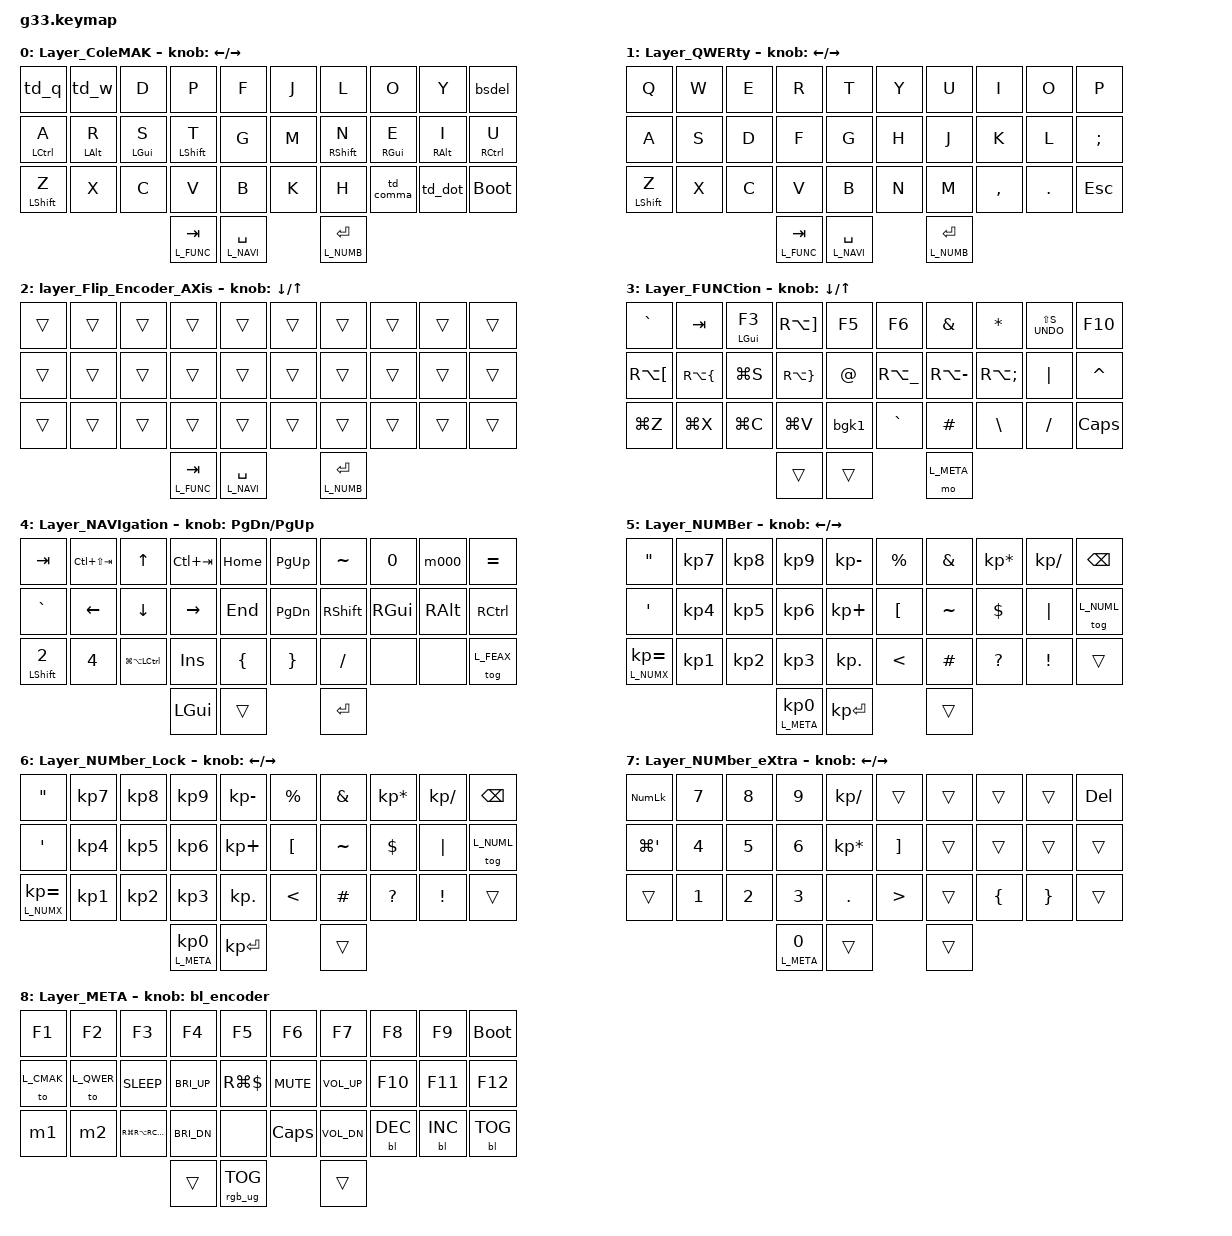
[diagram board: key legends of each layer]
/*
* Copyright (c) 2023 The ZMK Contributors
*
* SPDX-License-Identifier: MIT
*/

#include <behaviors.dtsi>
#include <dt-bindings/zmk/keys.h>
#include <dt-bindings/zmk/backlight.h>
#include <dt-bindings/zmk/bt.h>
#include <dt-bindings/zmk/ext_power.h>
#include <dt-bindings/zmk/rgb.h>


/* Layers */
#define L_CMAK  0
#define L_QWER  1
#define L_FEAX  2
#define L_FUNC  3
#define L_NAVI  4
#define L_NUMB  5
#define L_NUML  6
#define L_NUMX  7
#define L_META  8

/* Option Symbols */
#define LDQUO   RA(LBKT)
#define RDQUO   RA(LBRC)
#define LSQUO   RA(RBKT)
#define RSQUO   RA(RBRC)
#define NDASH   RA(MINUS)
#define MDASH   RA(UNDER)
#define ELLIP   RA(SEMI)

/* Modifiers */
#define M_ALL   LG(LA(LCTRL))
#define M_ARR   RG(RA(RCTRL))

/* Shortcuts */
#define S_UNDO  LG(Z)
#define S_REDO  LS(S_UNDO)
#define S_CUT   LG(X)
#define S_COPY  LG(C)
#define S_PAST  LG(V)
#define S_SAVE  LG(S)
#define S_SHOT  RG(DOLLAR)
#define S_TIMER RG(RA(RC(F10)))

/* Shorter Number Pad Codes */
#define P1      KP_NUMBER_1
#define P2      KP_NUMBER_2
#define P3      KP_NUMBER_3
#define P4      KP_NUMBER_4
#define P5      KP_NUMBER_5
#define P6      KP_NUMBER_6
#define P7      KP_NUMBER_7
#define P8      KP_NUMBER_8
#define P9      KP_NUMBER_9
#define P0      KP_NUMBER_0
#define PPLUS   KP_PLUS
#define PMIN    KP_MINUS
#define PMULT   KP_MULTIPLY
#define PDIV    KP_DIVIDE
#define PEQL    KP_EQUAL
#define PDOT    KP_DOT


&mt {
    flavor = "balanced";
    tapping_term_ms = <175>;
};

/ {
    behaviors {

        bl_encoder: bl_encoder {
            compatible = "zmk,behavior-sensor-rotate";
            label = "BACKLIGHT_ENCODER";
            #sensor-binding-cells = <0>;
            bindings = <&bl BL_DEC>, <&bl BL_INC>;
        };

        bsdel: backsp_del {
            compatible = "zmk,behavior-mod-morph";
            label = "BACKSP_DEL";
            #binding-cells = <0>;
            bindings = <&kp BSPC>, <&kp DEL>;
            mods = <MOD_LSFT>;
        };
        comlp: comma_paren {
            compatible = "zmk,behavior-mod-morph";
            label = "COMMA_PAREN";
            #binding-cells = <0>;
            bindings = <&kp COMMA>, <&kp LPAR>;
            mods = <MOD_LSFT>;
        };
        dotrp: dot_paren {
            compatible = "zmk,behavior-mod-morph";
            label = "DOT_PAREN";
            #binding-cells = <0>;
            bindings = <&kp DOT>, <&kp RPAR>;
            mods = <MOD_LSFT>;
        };
        comlt: comma_less {
            compatible = "zmk,behavior-mod-morph";
            label = "COMMA_LESSTHAN";
            #binding-cells = <0>;
            bindings = <&comlp>, <&kp LT>;
            mods = <MOD_LALT>;
        };
        dotgt: dot_great {
            compatible = "zmk,behavior-mod-morph";
            label = "DOT_GREATERTHAN";
            #binding-cells = <0>;
            bindings = <&dotrp>, <&kp GT>;
            mods = <MOD_LALT>;
        };
        comlb: comma_backet {
            compatible = "zmk,behavior-mod-morph";
            label = "COMMA_BRACKET";
            #binding-cells = <0>;
            bindings = <&comlt>, <&kp LBKT>;
            mods = <MOD_LCTL>;
        };
        dotrb: dot_backet {
            compatible = "zmk,behavior-mod-morph";
            label = "DOT_BRACKET";
            #binding-cells = <0>;
            bindings = <&dotgt>, <&kp RBKT>;
            mods = <MOD_LCTL>;
        };

        td_q: tap_dance_q {
            compatible = "zmk,behavior-tap-dance";
            label = "TAP_DANCE_Q";
            #binding-cells = <0>;
            bindings = <&kp Q>, <&kp SQT>;
        };
        td_w: tap_dance_w {
            compatible = "zmk,behavior-tap-dance";
            label = "TAP_DANCE_W";
            #binding-cells = <0>;
            bindings = <&kp W>, <&kp DQT>, <&www>;
        };
        td_comma: tap_dance_comma {
            compatible = "zmk,behavior-tap-dance";
            label = "TAP_DANCE_COMMA";
            #binding-cells = <0>;
            bindings = <&comlb>, <&kp SEMI>;
        };
        td_dot: tap_dance_dot {
            compatible = "zmk,behavior-tap-dance";
            label = "TAP_DANCE_DOT";
            #binding-cells = <0>;
            bindings = <&dotrb>, <&kp COLON>, <&parent_dir>;
        };
    };

    combos {
        compatible = "zmk,combos";

        combo_esc {
            timeout-ms = <50>;
            key-positions = <0 1>;
            layers = <0 1>;
            bindings = <&kp ESC>;
        };
        combo_minus {
            timeout-ms = <50>;
            key-positions = <8 9>;
            layers = <0 1>;
            bindings = <&kp MINUS>;
        };
        combo_capsword {
            timeout-ms = <50>;
            key-positions = <20 21>;
            layers = <0 1>;
            bindings = <&caps_word>;
        };
        combo_equal {
            timeout-ms = <50>;
            key-positions = <27 28>;
            layers = <0 1>;
            bindings = <&kp EQUAL>;
        };
    };

    macros {
        ZMK_MACRO(
            m000,
            bindings = <&kp P0 &kp P0 &kp P0>;
        )
        ZMK_MACRO(
            m1,
            bindings = <&kp M &kp N1>;
        )
        ZMK_MACRO(
            m2,
            bindings = <&kp M &kp N2>;
        )
        ZMK_MACRO(
            bgk1,
            bindings = <&kp LS(B) &kp A &kp R &kp N &kp A &kp B &kp Y>;
        )
        ZMK_MACRO(
            www,
            bindings = <&kp W &kp W &kp W>;
        )
        ZMK_MACRO(
            parent_dir,
            bindings = <&kp DOT &kp DOT &kp SLASH>;
        )
    };

    keymap {
        compatible = "zmk,keymap";

        Layer_ColeMAK {
            bindings = <
                &td_q       &td_w       &kp D       &kp P       &kp F       &kp J       &kp L       &kp O       &kp Y       &bsdel
                &mt LCTRL A &mt LALT R  &mt LGUI S  &mt LSHFT T &kp G       &kp M       &mt RSHFT N &mt RGUI E  &mt RALT I  &mt RCTRL U
                &mt LSHFT Z &kp X       &kp C       &kp V       &kp B       &kp K       &kp H       &td_comma   &td_dot     &bootloader
                                                    &lt L_FUNC TAB  &lt L_NAVI SPACE    &lt L_NUMB RETURN
            >;
            sensor-bindings = <&inc_dec_kp LEFT RIGHT>;
        };

        Layer_QWERty {
            bindings = <
                &kp Q       &kp W       &kp E       &kp R       &kp T       &kp Y       &kp U       &kp I       &kp O       &kp P
                &kp A       &kp S       &kp D       &kp F       &kp G       &kp H       &kp J       &kp K       &kp L       &kp SEMI
                &mt LSHFT Z &kp X       &kp C       &kp V       &kp B       &kp N       &kp M       &kp COMMA   &kp DOT     &kp ESC
                                                    &lt L_FUNC TAB  &lt L_NAVI SPACE    &lt L_NUMB RETURN
            >;
            sensor-bindings = <&inc_dec_kp LEFT RIGHT>;
        };

        layer_Flip_Encoder_AXis {
            bindings = <
                &trans      &trans      &trans      &trans      &trans      &trans      &trans      &trans      &trans      &trans
                &trans      &trans      &trans      &trans      &trans      &trans      &trans      &trans      &trans      &trans
                &trans      &trans      &trans      &trans      &trans      &trans      &trans      &trans      &trans      &trans
                                                    &lt L_FUNC TAB  &lt L_NAVI SPACE    &lt L_NUMB RETURN
            >;
            sensor-bindings = <&inc_dec_kp DOWN UP>;
        };

        Layer_FUNCtion {
            bindings = <
                &kp GRAVE   &kp TAB     &mt LGUI F3 &kp LSQUO   &kp F5      &kp F6      &kp AMPS    &kp ASTRK   &kp S_REDO  &kp F10
                &kp LDQUO   &kp RDQUO   &kp S_SAVE  &kp RSQUO   &kp AT      &kp MDASH   &kp NDASH   &kp ELLIP   &kp PIPE    &kp CARET
                &kp S_UNDO  &kp S_CUT   &kp S_COPY  &kp S_PAST  &bgk1       &kp GRAVE   &kp HASH    &kp BSLH    &kp FSLH    &kp CAPS
                                                    &trans          &trans              &mo L_META
            >;
            sensor-bindings = <&inc_dec_kp DOWN UP>;
        };

        Layer_NAVIgation {
            bindings = <
                &kp TAB &kp LC(LS(TAB)) &kp UP      &kp LC(TAB) &kp HOME    &kp PG_UP   &kp TILDE   &kp N0      &m000       &kp EQUAL
                &kp GRAVE   &kp LEFT    &kp DOWN    &kp RIGHT   &kp END     &kp PG_DN   &kp RSHIFT  &kp RGUI    &kp RALT    &kp RCTRL
                &mt LSHFT N2 &kp N4     &kp M_ALL   &kp INSERT  &kp LBRC    &kp RBRC    &kp FSLH    &none       &none       &tog L_FEAX
                                                    &kp LGUI        &trans              &kp RETURN
            >;
            sensor-bindings = <&inc_dec_kp PG_DN PG_UP>;
        };

        Layer_NUMBer {
            bindings = <
                &kp DQT     &kp P7      &kp P8      &kp P9      &kp PMIN    &kp PRCNT   &kp AMPS    &kp PMULT   &kp PDIV    &kp BSPC
                &kp SQT     &kp P4      &kp P5      &kp P6      &kp PPLUS   &kp LBKT    &kp TILDE   &kp DLLR    &kp PIPE    &tog L_NUML
            &lt L_NUMX PEQL &kp P1      &kp P2      &kp P3      &kp KP_DOT  &kp LT      &kp HASH    &kp QMARK   &kp EXCL    &trans
                                                    &lt L_META P0   &kp KP_ENTER        &trans
            >;
            sensor-bindings = <&inc_dec_kp LEFT RIGHT>;
        };

        Layer_NUMber_Lock {
            bindings = <
                &kp DQT     &kp P7      &kp P8      &kp P9      &kp PMIN    &kp PRCNT   &kp AMPS    &kp PMULT   &kp PDIV    &kp BSPC
                &kp SQT     &kp P4      &kp P5      &kp P6      &kp PPLUS   &kp LBKT    &kp TILDE   &kp DLLR    &kp PIPE    &tog L_NUML
            &lt L_NUMX PEQL &kp P1      &kp P2      &kp P3      &kp KP_DOT  &kp LT      &kp HASH    &kp QMARK   &kp EXCL    &trans
                                                    &lt L_META P0   &kp KP_ENTER        &trans
            >;
            sensor-bindings = <&inc_dec_kp LEFT RIGHT>;
        };

        Layer_NUMber_eXtra {
            bindings = <
                &kp KP_NLCK &kp N7      &kp N8      &kp N9      &kp PDIV    &trans      &trans      &trans      &trans      &kp DELETE
                &kp LG(SQT) &kp N4      &kp N5      &kp N6      &kp PMULT   &kp RBKT    &trans      &trans      &trans      &trans
                &trans      &kp N1      &kp N2      &kp N3      &kp DOT     &kp GT      &trans      &kp LBRC    &kp RBRC    &trans
                                                    &lt L_META N0   &trans              &trans
            >;
            sensor-bindings = <&inc_dec_kp LEFT RIGHT>;
        };

        Layer_META {
            bindings = <
                &kp F1      &kp F2     &kp F3      &kp F4       &kp F5      &kp F6     &kp F7       &kp F8      &kp F9      &bootloader
                &to L_CMAK  &to L_QWER &kp C_SLEEP &kp C_BRI_UP &kp S_SHOT  &kp K_MUTE &kp C_VOL_UP &kp F10     &kp F11     &kp F12
                &m1         &m2        &kp S_TIMER &kp C_BRI_DN &none       &kp CAPS   &kp C_VOL_DN &bl BL_DEC  &bl BL_INC  &bl BL_TOG
                                                &trans              &rgb_ug RGB_TOG    &trans

            >;
            sensor-bindings = <&bl_encoder>;
        };
    };
};
